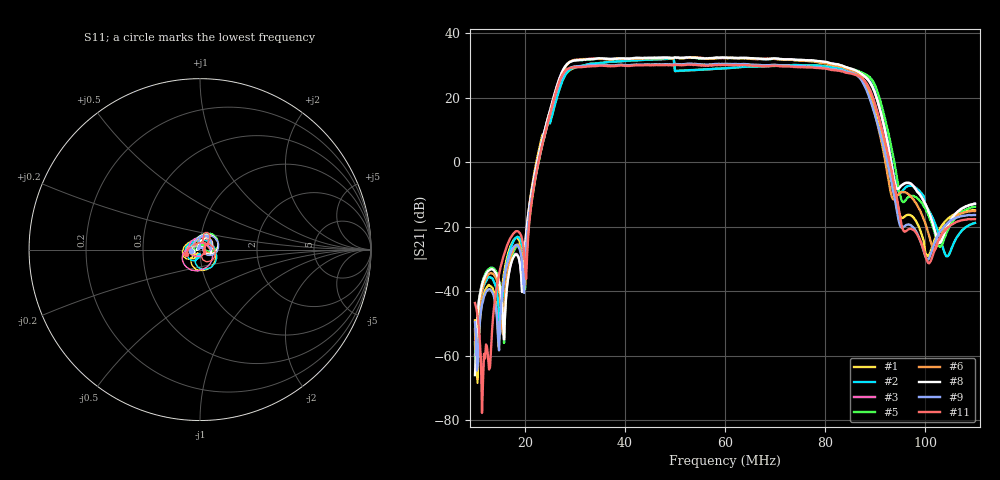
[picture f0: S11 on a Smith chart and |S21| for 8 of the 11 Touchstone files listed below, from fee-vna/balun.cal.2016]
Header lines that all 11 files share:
! Anritsu VNA Master:  Model: MS2034B/10/19/501
! SN:  1337062
! Existing Calibration Information:
! TYPE:  Current Settings,  Active Cal Settings
! START FREQ:  10.000 MHz,  10.000 MHz
! STOP FREQ:  110.000 MHz,  110.000 MHz
! SOURCE POWER:  Low,  Low
! REF PLANE 2:  0 mm,  0 mm
! CAL METHOD:  SOLT,  SOLT
! CAL LINE TYPE:  Coax,  Coax
! DUT PORT 1:  K-Conn(M),  K-Conn(M)
! DUT PORT 2:  N-Conn(M),  N-Conn(M)
! CAL STATUS:  OK: Accuracy High,  --
# GHZ S DB R 50.0
! FREQ.GHZ  S11DB  S11A  S21DB  S21A  S12DB  S12A  S22DB  S22A
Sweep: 10 MHz to 110 MHz
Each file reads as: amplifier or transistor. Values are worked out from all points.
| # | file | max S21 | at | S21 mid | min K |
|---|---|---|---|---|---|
| 1 | d1-s11.s2p | 32.1 dB | 48.75 MHz | 29.2 dB at 60 MHz | -0.06 |
| 2 | d2-s11.s2p | 32.2 dB | 48.75 MHz | 29.2 dB at 60 MHz | -0.04 |
| 3 | dcp2-c1-s21.s2p | 32.6 dB | 53.49 MHz | 32.5 dB at 60.1 MHz | -0.05 |
| 4 | dcp-a1-s11.s2p | 32.4 dB | 53.09 MHz | 32.3 dB at 60.1 MHz | -0.06 |
| 5 | dcp-a2-s11.s2p | 32.5 dB | 53.09 MHz | 32.4 dB at 60.1 MHz | -0.05 |
| 6 | dcp-b1-s21.s2p | 32.6 dB | 54.09 MHz | 32.3 dB at 60.1 MHz | -0.05 |
| 7 | dcp-b2-s21.s2p | 32.7 dB | 54.09 MHz | 32.4 dB at 60.1 MHz | -0.06 |
| 8 | dcp-c1-s11.s2p | 32.6 dB | 53.09 MHz | 32.4 dB at 60.1 MHz | -0.06 |
| 9 | dcp-d1-s11.s2p | 30.6 dB | 52.89 MHz | 30.5 dB at 60.1 MHz | -0.05 |
| 10 | dcp-d1-s21.s2p | 30.7 dB | 53.29 MHz | 30.5 dB at 60.1 MHz | -0.05 |
| 11 | dcp-z2-s11.s2p | 30.3 dB | 52.89 MHz | 30.2 dB at 60.1 MHz | -0.08 |
